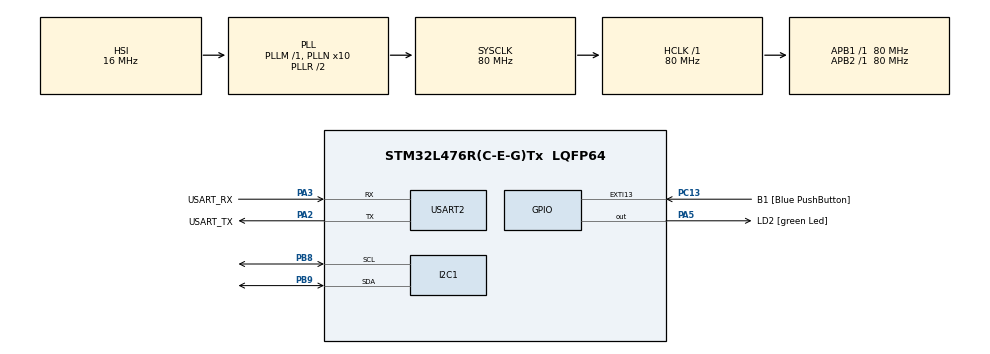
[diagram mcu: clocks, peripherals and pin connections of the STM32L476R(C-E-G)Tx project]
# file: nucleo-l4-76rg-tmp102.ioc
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I2C1.Timing=0x10909CEC
Mcu.Family=STM32L4
Mcu.Name=STM32L476R(C-E-G)Tx
Mcu.Package=LQFP64
NVIC.PriorityGroup=NVIC_PRIORITYGROUP_4
PA13\ (JTMS-SWDIO).GPIO_Label=TMS
PA13\ (JTMS-SWDIO).Mode=Serial_Wire
PA13\ (JTMS-SWDIO).Signal=SYS_JTMS-SWDIO
PA14\ (JTCK-SWCLK).GPIO_Label=TCK
PA14\ (JTCK-SWCLK).Mode=Serial_Wire
PA14\ (JTCK-SWCLK).Signal=SYS_JTCK-SWCLK
PA2.GPIO_Label=USART_TX
PA2.GPIO_Mode=GPIO_MODE_AF_PP
PA2.GPIO_PuPd=GPIO_NOPULL
PA2.GPIO_Speed=GPIO_SPEED_FREQ_VERY_HIGH
PA2.Mode=Asynchronous
PA2.Signal=USART2_TX
PA3.GPIO_Label=USART_RX
PA3.GPIO_Mode=GPIO_MODE_AF_PP
PA3.GPIO_PuPd=GPIO_NOPULL
PA3.GPIO_Speed=GPIO_SPEED_FREQ_VERY_HIGH
PA3.Mode=Asynchronous
PA3.Signal=USART2_RX
PA5.GPIO_Label=LD2 [green Led]
PA5.GPIO_ModeDefaultOutputPP=GPIO_MODE_OUTPUT_PP
PA5.GPIO_PuPd=GPIO_NOPULL
PA5.GPIO_Speed=GPIO_SPEED_FREQ_LOW
PA5.Signal=GPIO_Output
PB3\ (JTDO-TRACESWO).GPIO_Label=SWO
PB3\ (JTDO-TRACESWO).Signal=SYS_JTDO-SWO
PB8.Mode=I2C
PB8.Signal=I2C1_SCL
PB9.Mode=I2C
PB9.Signal=I2C1_SDA
PC13.GPIO_Label=B1 [Blue PushButton]
PC13.GPIO_ModeDefaultEXTI=GPIO_MODE_IT_FALLING
PC13.GPIO_PuPd=GPIO_NOPULL
PC13.Signal=GPXTI13
PC14-OSC32_IN\ (PC14).Mode=LSE-External-Oscillator
PC14-OSC32_IN\ (PC14).Signal=RCC_OSC32_IN
PC15-OSC32_OUT\ (PC15).Mode=LSE-External-Oscillator
PC15-OSC32_OUT\ (PC15).Signal=RCC_OSC32_OUT
PH0-OSC_IN\ (PH0).Signal=RCC_OSC_IN
PH1-OSC_OUT\ (PH1).Signal=RCC_OSC_OUT
ProjectManager.HeapSize=0x200
ProjectManager.StackSize=0x400
ProjectManager.TargetToolchain=STM32CubeIDE
RCC.ADCFreq_Value=64000000
RCC.AHBFreq_Value=80000000
RCC.APB1Freq_Value=80000000
RCC.APB1TimFreq_Value=80000000
RCC.APB2Freq_Value=80000000
RCC.APB2TimFreq_Value=80000000
RCC.CortexFreq_Value=80000000
RCC.HCLKFreq_Value=80000000
RCC.HSE_VALUE=8000000
RCC.HSI_VALUE=16000000
RCC.MSI_VALUE=4000000
RCC.PLLN=10
RCC.PLLSourceVirtual=RCC_PLLSOURCE_HSI
RCC.PREFETCH_ENABLE=1
RCC.SYSCLKFreq_VALUE=80000000
RCC.SYSCLKSource=RCC_SYSCLKSOURCE_PLLCLK
RCC.USBFreq_Value=64000000
RCC.VCOOutputFreq_Value=160000000
USART2.VirtualMode-Asynchronous=VM_ASYNC
board=NUCLEO-L476RG

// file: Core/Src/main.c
/* USER CODE BEGIN Header */
/**
  ******************************************************************************
  * @file           : main.c
  * @brief          : Main program body
  ******************************************************************************
  * @attention
  *
  * <h2><center>&copy; Copyright (c) 2020 STMicroelectronics.
  * All rights reserved.</center></h2>
  *
  * This software component is licensed by ST under BSD 3-Clause license,
  * the "License"; You may not use this file except in compliance with the
  * License. You may obtain a copy of the License at:
  *                        opensource.org/licenses/BSD-3-Clause
  *
  ******************************************************************************
  */
/* USER CODE END Header */
#include "main.h"

/* USER CODE BEGIN Includes */
#include <string.h>
#include <stdio.h>
/* USER CODE END Includes */

I2C_HandleTypeDef hi2c1;

UART_HandleTypeDef huart2;

/* USER CODE BEGIN PV */
static const uint8_t TMP102_ADDR = 0x48 << 1; // Use 8-bit address
static const uint8_t REG_TMP = 0x00;
/* USER CODE END PV */

void SystemClock_Config(void);
static void MX_GPIO_Init(void);
static void MX_USART2_UART_Init(void);
static void MX_I2C1_Init(void);

int main(void)
{
  /* USER CODE BEGIN 1 */
  HAL_StatusTypeDef ret; 	// to hold communication errors if such occur
  uint8_t buf[12]; 			// to hold the character string for UART communication or the bytes from the TMP102 chip
  int16_t val; 				// to hold raw value from the TMP102 chip
  float temp_c; 			// to hold the temperature value in Celcius
  /* USER CODE END 1 */

  /* MCU Configuration--------------------------------------------------------*/

  /* Reset of all peripherals, Initializes the Flash interface and the Systick. */
  HAL_Init();

  /* Configure the system clock */
  SystemClock_Config();

  /* Initialize all configured peripherals */
  MX_GPIO_Init();
  MX_USART2_UART_Init();
  MX_I2C1_Init();

  /* Infinite loop */
  /* USER CODE BEGIN WHILE */
  while (1)
  {
	// tell TMP102 that we want to read from the temperature register
	buf[0] = REG_TMP;
	ret = HAL_I2C_Master_Transmit(&hi2c1, TMP102_ADDR, buf, 1, HAL_MAX_DELAY);
	if (ret != HAL_OK) {
		strcpy((char*)buf, "Error Tx\r\n");
	} else {
		// read 2 bytes from the temperature register
		ret = HAL_I2C_Master_Receive(&hi2c1, TMP102_ADDR, buf, 1, HAL_MAX_DELAY);
		if (ret != HAL_OK) {
			strcpy((char*)buf, "Error Rx\r\n");
		} else {
			// combine the two bytes
			val = ((int16_t)buf[0] << 4) | (buf[1] >> 4);
			// convert to 2's complement if the temperature is negative
			if (val > 0x7FF){
				val |= 0xF000;
			}
			// convert to float temperature value in Celcius
			temp_c = val * 0.0625;
			// convert temperature to decimal format
			temp_c *= 100;
			sprintf((char*)buf, "%u.%02u C\r\n", ((unsigned int)temp_c / 100), ((unsigned int)temp_c * 100));
		}
	}
	// send out buffer (temperature or error message)
	HAL_UART_Transmit(&huart2, buf, strlen((char*)buf), HAL_MAX_DELAY);
	HAL_Delay(500);
    /* USER CODE END WHILE */

  }
}

void SystemClock_Config(void)
{
  RCC_OscInitTypeDef RCC_OscInitStruct = {0};
  RCC_ClkInitTypeDef RCC_ClkInitStruct = {0};
  RCC_PeriphCLKInitTypeDef PeriphClkInit = {0};

  /** Initializes the RCC Oscillators according to the specified parameters
  * in the RCC_OscInitTypeDef structure.
  */
  RCC_OscInitStruct.OscillatorType = RCC_OSCILLATORTYPE_HSI;
  RCC_OscInitStruct.HSIState = RCC_HSI_ON;
  RCC_OscInitStruct.HSICalibrationValue = RCC_HSICALIBRATION_DEFAULT;
  RCC_OscInitStruct.PLL.PLLState = RCC_PLL_ON;
  RCC_OscInitStruct.PLL.PLLSource = RCC_PLLSOURCE_HSI;
  RCC_OscInitStruct.PLL.PLLM = 1;
  RCC_OscInitStruct.PLL.PLLN = 10;
  RCC_OscInitStruct.PLL.PLLP = RCC_PLLP_DIV7;
  RCC_OscInitStruct.PLL.PLLQ = RCC_PLLQ_DIV2;
  RCC_OscInitStruct.PLL.PLLR = RCC_PLLR_DIV2;
  if (HAL_RCC_OscConfig(&RCC_OscInitStruct) != HAL_OK)
  {
    Error_Handler();
  }
  /** Initializes the CPU, AHB and APB buses clocks
  */
  RCC_ClkInitStruct.ClockType = RCC_CLOCKTYPE_HCLK|RCC_CLOCKTYPE_SYSCLK
                              |RCC_CLOCKTYPE_PCLK1|RCC_CLOCKTYPE_PCLK2;
  RCC_ClkInitStruct.SYSCLKSource = RCC_SYSCLKSOURCE_PLLCLK;
  RCC_ClkInitStruct.AHBCLKDivider = RCC_SYSCLK_DIV1;
  RCC_ClkInitStruct.APB1CLKDivider = RCC_HCLK_DIV1;
  RCC_ClkInitStruct.APB2CLKDivider = RCC_HCLK_DIV1;

  if (HAL_RCC_ClockConfig(&RCC_ClkInitStruct, FLASH_LATENCY_4) != HAL_OK)
  {
    Error_Handler();
  }
  PeriphClkInit.PeriphClockSelection = RCC_PERIPHCLK_USART2|RCC_PERIPHCLK_I2C1;
  PeriphClkInit.Usart2ClockSelection = RCC_USART2CLKSOURCE_PCLK1;
  PeriphClkInit.I2c1ClockSelection = RCC_I2C1CLKSOURCE_PCLK1;
  if (HAL_RCCEx_PeriphCLKConfig(&PeriphClkInit) != HAL_OK)
  {
    Error_Handler();
  }
  /** Configure the main internal regulator output voltage
  */
  if (HAL_PWREx_ControlVoltageScaling(PWR_REGULATOR_VOLTAGE_SCALE1) != HAL_OK)
  {
    Error_Handler();
  }
}

static void MX_I2C1_Init(void)
{

  hi2c1.Instance = I2C1;
  hi2c1.Init.Timing = 0x10909CEC;
  hi2c1.Init.OwnAddress1 = 0;
  hi2c1.Init.AddressingMode = I2C_ADDRESSINGMODE_7BIT;
  hi2c1.Init.DualAddressMode = I2C_DUALADDRESS_DISABLE;
  hi2c1.Init.OwnAddress2 = 0;
  hi2c1.Init.OwnAddress2Masks = I2C_OA2_NOMASK;
  hi2c1.Init.GeneralCallMode = I2C_GENERALCALL_DISABLE;
  hi2c1.Init.NoStretchMode = I2C_NOSTRETCH_DISABLE;
  if (HAL_I2C_Init(&hi2c1) != HAL_OK)
  {
    Error_Handler();
  }
  /** Configure Analogue filter
  */
  if (HAL_I2CEx_ConfigAnalogFilter(&hi2c1, I2C_ANALOGFILTER_ENABLE) != HAL_OK)
  {
    Error_Handler();
  }
  /** Configure Digital filter
  */
  if (HAL_I2CEx_ConfigDigitalFilter(&hi2c1, 0) != HAL_OK)
  {
    Error_Handler();
  }

}

static void MX_USART2_UART_Init(void)
{

  huart2.Instance = USART2;
  huart2.Init.BaudRate = 115200;
  huart2.Init.WordLength = UART_WORDLENGTH_8B;
  huart2.Init.StopBits = UART_STOPBITS_1;
  huart2.Init.Parity = UART_PARITY_NONE;
  huart2.Init.Mode = UART_MODE_TX_RX;
  huart2.Init.HwFlowCtl = UART_HWCONTROL_NONE;
  huart2.Init.OverSampling = UART_OVERSAMPLING_16;
  huart2.Init.OneBitSampling = UART_ONE_BIT_SAMPLE_DISABLE;
  huart2.AdvancedInit.AdvFeatureInit = UART_ADVFEATURE_NO_INIT;
  if (HAL_UART_Init(&huart2) != HAL_OK)
  {
    Error_Handler();
  }

}

static void MX_GPIO_Init(void)
{
  GPIO_InitTypeDef GPIO_InitStruct = {0};

  /* GPIO Ports Clock Enable */
  __HAL_RCC_GPIOC_CLK_ENABLE();
  __HAL_RCC_GPIOH_CLK_ENABLE();
  __HAL_RCC_GPIOA_CLK_ENABLE();
  __HAL_RCC_GPIOB_CLK_ENABLE();

  /*Configure GPIO pin Output Level */
  HAL_GPIO_WritePin(LD2_GPIO_Port, LD2_Pin, GPIO_PIN_RESET);

  /*Configure GPIO pin : B1_Pin */
  GPIO_InitStruct.Pin = B1_Pin;
  GPIO_InitStruct.Mode = GPIO_MODE_IT_FALLING;
  GPIO_InitStruct.Pull = GPIO_NOPULL;
  HAL_GPIO_Init(B1_GPIO_Port, &GPIO_InitStruct);

  /*Configure GPIO pin : LD2_Pin */
  GPIO_InitStruct.Pin = LD2_Pin;
  GPIO_InitStruct.Mode = GPIO_MODE_OUTPUT_PP;
  GPIO_InitStruct.Pull = GPIO_NOPULL;
  GPIO_InitStruct.Speed = GPIO_SPEED_FREQ_LOW;
  HAL_GPIO_Init(LD2_GPIO_Port, &GPIO_InitStruct);

}

void Error_Handler(void)
{
}

/************************ (C) COPYRIGHT STMicroelectronics *****END OF FILE****/
